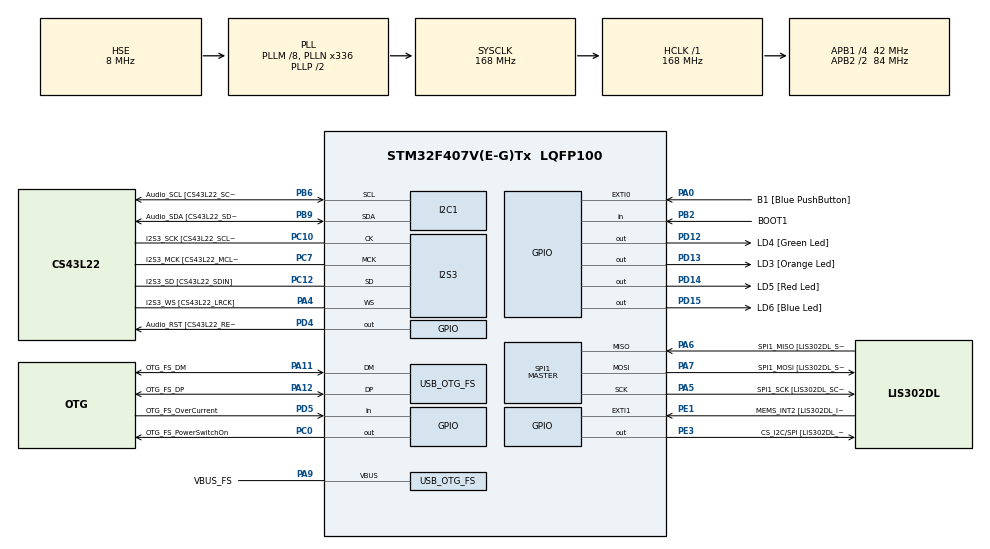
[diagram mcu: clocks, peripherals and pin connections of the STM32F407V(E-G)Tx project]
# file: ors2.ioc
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I2S3.AudioFreq-Half_Duplex_Master=I2S_AUDIOFREQ_96K
I2S3.ErrorAudioFreq=-2.34 %
I2S3.ErrorAudioFreq-Half_Duplex_Master=0.8 %
I2S3.FullDuplexMode=I2S_FULLDUPLEXMODE_DISABLE
I2S3.Instance=SPI$Index
I2S3.RealAudioFreq=93.75 KHz
I2S3.RealAudioFreq-Half_Duplex_Master=96.774 KHz
I2S3.VirtualMode=I2S_MODE_MASTER
Mcu.Family=STM32F4
Mcu.Name=STM32F407V(E-G)Tx
Mcu.Package=LQFP100
NVIC.OTG_FS_IRQn=true\:0\:0\:false\:false\:true\:true\:true
NVIC.PriorityGroup=NVIC_PRIORITYGROUP_0
PA0-WKUP.GPIO_Label=B1 [Blue PushButton]
PA0-WKUP.GPIO_ModeDefaultEXTI=GPIO_MODE_EVT_RISING
PA0-WKUP.GPIO_PuPd=GPIO_NOPULL
PA0-WKUP.Signal=GPXTI0
PA10.GPIO_Label=OTG_FS_ID
PA10.GPIO_Mode=GPIO_MODE_AF_PP
PA10.GPIO_PuPd=GPIO_NOPULL
PA10.GPIO_Speed=GPIO_SPEED_FREQ_LOW
PA10.Signal=USB_OTG_FS_ID
PA11.GPIO_Label=OTG_FS_DM
PA11.GPIO_Mode=GPIO_MODE_AF_PP
PA11.GPIO_PuPd=GPIO_NOPULL
PA11.GPIO_Speed=GPIO_SPEED_FREQ_LOW
PA11.Mode=Host_Only
PA11.Signal=USB_OTG_FS_DM
PA12.GPIO_Label=OTG_FS_DP
PA12.GPIO_Mode=GPIO_MODE_AF_PP
PA12.GPIO_PuPd=GPIO_NOPULL
PA12.GPIO_Speed=GPIO_SPEED_FREQ_LOW
PA12.Mode=Host_Only
PA12.Signal=USB_OTG_FS_DP
PA13.GPIO_Label=SWDIO
PA13.Mode=Serial_Wire
PA13.Signal=SYS_JTMS-SWDIO
PA14.GPIO_Label=SWCLK
PA14.Mode=Serial_Wire
PA14.Signal=SYS_JTCK-SWCLK
PA4.GPIO_Label=I2S3_WS [CS43L22_LRCK]
PA4.GPIO_Mode=GPIO_MODE_AF_PP
PA4.GPIO_PuPd=GPIO_NOPULL
PA4.GPIO_Speed=GPIO_SPEED_FREQ_LOW
PA4.Mode=Half_Duplex_Master
PA4.Signal=I2S3_WS
PA5.GPIO_Label=SPI1_SCK [LIS302DL_SCL/SPC]
PA5.GPIO_Mode=GPIO_MODE_AF_PP
PA5.GPIO_PuPd=GPIO_NOPULL
PA5.GPIO_Speed=GPIO_SPEED_FREQ_LOW
PA5.Mode=Full_Duplex_Master
PA5.Signal=SPI1_SCK
PA6.GPIO_Label=SPI1_MISO [LIS302DL_SDO]
PA6.GPIO_Mode=GPIO_MODE_AF_PP
PA6.GPIO_PuPd=GPIO_NOPULL
PA6.GPIO_Speed=GPIO_SPEED_FREQ_LOW
PA6.Mode=Full_Duplex_Master
PA6.Signal=SPI1_MISO
PA7.GPIO_Label=SPI1_MOSI [LIS302DL_SDA/SDI/SDO]
PA7.GPIO_Mode=GPIO_MODE_AF_PP
PA7.GPIO_PuPd=GPIO_NOPULL
PA7.GPIO_Speed=GPIO_SPEED_FREQ_LOW
PA7.Mode=Full_Duplex_Master
PA7.Signal=SPI1_MOSI
PA9.GPIO_Label=VBUS_FS
PA9.GPIO_Mode=GPIO_MODE_INPUT
PA9.GPIO_PuPd=GPIO_NOPULL
PA9.Mode=Activate_VBUS
PA9.Signal=USB_OTG_FS_VBUS
PB10.GPIO_Label=CLK_IN [MP45DT02_CLK]
PB10.GPIO_Mode=GPIO_MODE_AF_PP
PB10.GPIO_PuPd=GPIO_NOPULL
PB10.GPIO_Speed=GPIO_SPEED_FREQ_LOW
PB10.Signal=I2S2_CK
PB2.GPIO_Label=BOOT1
PB2.GPIO_Mode=GPIO_MODE_INPUT
PB2.GPIO_PuPd=GPIO_NOPULL
PB2.Signal=GPIO_Input
PB3.GPIO_Label=SWO
PB3.Signal=SYS_JTDO-SWO
PB6.GPIO_Label=Audio_SCL [CS43L22_SCL]
PB6.GPIO_Mode=GPIO_MODE_AF_OD
PB6.GPIO_Pu=GPIO_PULLUP
PB6.GPIO_PuPd=GPIO_NOPULL
PB6.GPIO_Speed=GPIO_SPEED_FREQ_LOW
PB6.Mode=I2C
PB6.Signal=I2C1_SCL
PB9.GPIO_Label=Audio_SDA [CS43L22_SDA]
PB9.GPIO_Mode=GPIO_MODE_AF_OD
PB9.GPIO_Pu=GPIO_PULLUP
PB9.GPIO_PuPd=GPIO_NOPULL
PB9.GPIO_Speed=GPIO_SPEED_FREQ_LOW
PB9.Mode=I2C
PB9.Signal=I2C1_SDA
PC0.GPIO_Label=OTG_FS_PowerSwitchOn
PC0.GPIO_PuPd=GPIO_NOPULL
PC0.GPIO_Speed=GPIO_SPEED_FREQ_LOW
PC0.PinState=GPIO_PIN_SET
PC0.Signal=GPIO_Output
PC10.GPIO_Label=I2S3_SCK [CS43L22_SCLK]
PC10.GPIO_Mode=GPIO_MODE_AF_PP
PC10.GPIO_PuPd=GPIO_NOPULL
PC10.GPIO_Speed=GPIO_SPEED_FREQ_LOW
PC10.Mode=Half_Duplex_Master
PC10.Signal=I2S3_CK
PC12.GPIO_Label=I2S3_SD [CS43L22_SDIN]
PC12.GPIO_Mode=GPIO_MODE_AF_PP
PC12.GPIO_PuPd=GPIO_NOPULL
PC12.GPIO_Speed=GPIO_SPEED_FREQ_LOW
PC12.Mode=Half_Duplex_Master
PC12.Signal=I2S3_SD
PC14-OSC32_IN.GPIO_Label=PC14-OSC32_IN
PC14-OSC32_IN.Mode=LSE-External-Oscillator
PC14-OSC32_IN.Signal=RCC_OSC32_IN
PC15-OSC32_OUT.GPIO_Label=PC15-OSC32_OUT
PC15-OSC32_OUT.Mode=LSE-External-Oscillator
PC15-OSC32_OUT.Signal=RCC_OSC32_OUT
PC3.GPIO_Label=PDM_OUT [MP45DT02_DOUT]
PC3.GPIO_Mode=GPIO_MODE_AF_PP
PC3.GPIO_PuPd=GPIO_NOPULL
PC3.GPIO_Speed=GPIO_SPEED_FREQ_LOW
PC3.Signal=I2S2_SD
PC7.GPIO_Label=I2S3_MCK [CS43L22_MCLK]
PC7.GPIO_Mode=GPIO_MODE_AF_PP
PC7.GPIO_PuPd=GPIO_NOPULL
PC7.GPIO_Speed=GPIO_SPEED_FREQ_LOW
PC7.Mode=Master_Clock_Activated
PC7.Signal=I2S3_MCK
PD12.GPIO_Label=LD4 [Green Led]
PD12.GPIO_PuPd=GPIO_NOPULL
PD12.GPIO_Speed=GPIO_SPEED_FREQ_LOW
PD12.Signal=GPIO_Output
PD13.GPIO_Label=LD3 [Orange Led]
PD13.GPIO_PuPd=GPIO_NOPULL
PD13.GPIO_Speed=GPIO_SPEED_FREQ_LOW
PD13.Signal=GPIO_Output
PD14.GPIO_Label=LD5 [Red Led]
PD14.GPIO_PuPd=GPIO_NOPULL
PD14.GPIO_Speed=GPIO_SPEED_FREQ_LOW
PD14.Signal=GPIO_Output
PD15.GPIO_Label=LD6 [Blue Led]
PD15.GPIO_PuPd=GPIO_NOPULL
PD15.GPIO_Speed=GPIO_SPEED_FREQ_LOW
PD15.Signal=GPIO_Output
PD4.GPIO_Label=Audio_RST [CS43L22_RESET]
PD4.GPIO_PuPd=GPIO_NOPULL
PD4.GPIO_Speed=GPIO_SPEED_FREQ_LOW
PD4.Signal=GPIO_Output
PD5.GPIO_Label=OTG_FS_OverCurrent
PD5.GPIO_Mode=GPIO_MODE_INPUT
PD5.GPIO_PuPd=GPIO_NOPULL
PD5.Signal=GPIO_Input
PE1.GPIO_Label=MEMS_INT2 [LIS302DL_INT2]
PE1.GPIO_ModeDefaultEXTI=GPIO_MODE_EVT_RISING
PE1.GPIO_PuPd=GPIO_NOPULL
PE1.Signal=GPXTI1
PE3.GPIO_Label=CS_I2C/SPI [LIS302DL_CS_I2C/SPI]
PE3.GPIO_PuPd=GPIO_NOPULL
PE3.GPIO_Speed=GPIO_SPEED_FREQ_LOW
PE3.Signal=GPIO_Output
PH0-OSC_IN.GPIO_Label=PH0-OSC_IN
PH0-OSC_IN.Mode=HSE-External-Oscillator
PH0-OSC_IN.Signal=RCC_OSC_IN
PH1-OSC_OUT.GPIO_Label=PH1-OSC_OUT
PH1-OSC_OUT.Mode=HSE-External-Oscillator
PH1-OSC_OUT.Signal=RCC_OSC_OUT
ProjectManager.HeapSize=0x200
ProjectManager.StackSize=0x400
ProjectManager.TargetToolchain=STM32CubeIDE
RCC.48MHZClocksFreq_Value=48000000
RCC.AHBFreq_Value=168000000
RCC.APB1CLKDivider=RCC_HCLK_DIV4
RCC.APB1Freq_Value=42000000
RCC.APB1TimFreq_Value=84000000
RCC.APB2CLKDivider=RCC_HCLK_DIV2
RCC.APB2Freq_Value=84000000
RCC.APB2TimFreq_Value=168000000
RCC.CortexFreq_Value=168000000
RCC.HCLKFreq_Value=168000000
RCC.HSE_VALUE=8000000
RCC.HSI_VALUE=16000000
RCC.PLLM=8
RCC.PLLN=336
RCC.PLLQ=7
RCC.SYSCLKFreq_VALUE=168000000
RCC.SYSCLKSource=RCC_SYSCLKSOURCE_PLLCLK
RCC.VCOOutputFreq_Value=336000000
SPI1.BaudRatePrescaler-Full_Duplex_Master=SPI_BAUDRATEPRESCALER_2
SPI1.CalculateBaudRate-Full_Duplex_Master=42.0 MBits/s
SPI1.Direction=SPI_DIRECTION_2LINES
SPI1.Mode=SPI_MODE_MASTER
SPI1.Mode-Full_Duplex_Master=SPI_MODE_MASTER
SPI1.VirtualType=VM_MASTER
USB_HOST.BSP.number=1
USB_HOST.USBH_HandleTypeDef-CDC_FS=hUsbHostFS
USB_HOST.VirtualModeFS=Cdc
USB_HOST0.BSP.STBoard=false
USB_HOST0.BSP.api=Unknown
USB_HOST0.BSP.i2caddr=0
USB_HOST0.BSP.i2creg=0
USB_HOST0.BSP.instance=PC0
USB_HOST0.BSP.ip=GPIO
USB_HOST0.BSP.mode=Output
USB_HOST0.BSP.name=Drive_VBUS_FS
USB_HOST0.BSP.solution=PC0
USB_OTG_FS.VirtualMode=Host_Only
USB_OTG_FS.phy_itface=HCD_PHY_EMBEDDED
VP_USB_HOST_VS_USB_HOST_CDC_FS.Mode=CDC_FS
board=STM32F407G-DISC1

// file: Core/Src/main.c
/* USER CODE BEGIN Header */
/**
  ******************************************************************************
  * @file           : main.c
  * @brief          : Main program body
  ******************************************************************************
  * @attention
  *
  * <h2><center>&copy; Copyright (c) 2021 STMicroelectronics.
  * All rights reserved.</center></h2>
  *
  * This software component is licensed by ST under Ultimate Liberty license
  * SLA0044, the "License"; You may not use this file except in compliance with
  * the License. You may obtain a copy of the License at:
  *                             www.st.com/SLA0044
  *
  ******************************************************************************
  */
/* USER CODE END Header */
#include "main.h"
#include "usb_host.h"

I2C_HandleTypeDef hi2c1;

I2S_HandleTypeDef hi2s3;

SPI_HandleTypeDef hspi1;

void SystemClock_Config(void);
static void MX_GPIO_Init(void);
static void MX_I2C1_Init(void);
static void MX_I2S3_Init(void);
static void MX_SPI1_Init(void);
void MX_USB_HOST_Process(void);

uint8_t in;
uint8_t out;

uint8_t mode =0;

int8_t x_acc;
   int8_t y_acc;
   int8_t x_zero=0;
   int8_t y_zero=0;

SPI_HandleTypeDef hspi1;
int main(void)
{

  /* MCU Configuration--------------------------------------------------------*/

  /* Reset of all peripherals, Initializes the Flash interface and the Systick. */
  HAL_Init();

  /* Configure the system clock */
  SystemClock_Config();

  /* Initialize all configured peripherals */
  MX_GPIO_Init();
  MX_I2C1_Init();
  MX_I2S3_Init();
  MX_SPI1_Init();
  MX_USB_HOST_Init();
  /* USER CODE BEGIN 2 */
  __HAL_RCC_SPI1_CLK_ENABLE();

    hspi1.Instance = SPI1;
    hspi1.Init.Mode = SPI_MODE_MASTER;
    hspi1.Init.Direction = SPI_DIRECTION_2LINES;
    hspi1.Init.DataSize = SPI_DATASIZE_8BIT;
    hspi1.Init.CLKPolarity = SPI_POLARITY_LOW;
    hspi1.Init.CLKPhase = SPI_PHASE_1EDGE;
    hspi1.Init.NSS = SPI_NSS_SOFT;
    hspi1.Init.BaudRatePrescaler = SPI_BAUDRATEPRESCALER_256;
    hspi1.Init.FirstBit = SPI_FIRSTBIT_MSB;
    hspi1.Init.CRCCalculation = SPI_CRCCALCULATION_DISABLE;
    HAL_SPI_Init(&hspi1);

    __HAL_RCC_GPIOA_CLK_ENABLE();

      GPIO_InitTypeDef init_structure;
      init_structure.Pin = GPIO_PIN_5 | GPIO_PIN_6 | GPIO_PIN_7;
      init_structure.Pull = GPIO_NOPULL;
      init_structure.Speed = GPIO_SPEED_FREQ_LOW;
      init_structure.Mode = GPIO_MODE_AF_PP;
      init_structure.Alternate = GPIO_AF5_SPI1;
      HAL_GPIO_Init(GPIOA, &init_structure);

  __HAL_RCC_GPIOE_CLK_ENABLE();
	init_structure.Pin = GPIO_PIN_3;
	init_structure.Pull = GPIO_NOPULL;
	init_structure.Speed = GPIO_SPEED_FREQ_LOW;
	init_structure.Mode = GPIO_MODE_OUTPUT_PP;
	HAL_GPIO_Init(GPIOE, &init_structure);
	HAL_GPIO_WritePin(GPIOE, GPIO_PIN_3, GPIO_PIN_SET);

  __HAL_RCC_GPIOD_CLK_ENABLE();
  	  //init led
    GPIO_InitTypeDef leds;
    leds.Pin =  GPIO_PIN_12 | GPIO_PIN_13 | GPIO_PIN_14 | GPIO_PIN_15;
    leds.Mode = GPIO_MODE_OUTPUT_PP;
    leds.Pull = GPIO_NOPULL;
    leds.Speed = GPIO_SPEED_FREQ_LOW;

    //init button
    HAL_GPIO_Init(GPIOD,&leds);
     __HAL_RCC_GPIOA_CLK_ENABLE();

     GPIO_InitTypeDef button;
     button.Pin =  GPIO_PIN_0;
     button.Mode = GPIO_MODE_IT_RISING_FALLING;
     button.Pull = GPIO_NOPULL;

     HAL_GPIO_Init(GPIOA,&button);

     HAL_NVIC_SetPriority(EXTI0_IRQn, 1, 2);

    HAL_NVIC_EnableIRQ(EXTI0_IRQn);

     // slave deselect
     HAL_GPIO_WritePin(GPIOE, GPIO_PIN_3, GPIO_PIN_RESET);
     out = 0x8F;
     HAL_SPI_TransmitReceive(&hspi1, &out, &in, 1, HAL_MAX_DELAY);
     HAL_SPI_TransmitReceive(&hspi1, &out, &in, 1, HAL_MAX_DELAY);
     HAL_GPIO_WritePin(GPIOE, GPIO_PIN_3, GPIO_PIN_SET);

     HAL_GPIO_WritePin(GPIOE, GPIO_PIN_3, GPIO_PIN_RESET);
     out = 0x20;
     HAL_SPI_TransmitReceive(&hspi1, &out, &in, 1, HAL_MAX_DELAY);
     out = 0x47;
     HAL_SPI_TransmitReceive(&hspi1, &out, &in, 1, HAL_MAX_DELAY);
     HAL_GPIO_WritePin(GPIOE, GPIO_PIN_3, GPIO_PIN_SET);

     HAL_Delay(500);

  /* USER CODE END 2 */

  /* Infinite loop */
  while (1)
  {
	  // beri naklon po x osi -> Naslov 0x29
	 	 HAL_GPIO_WritePin(GPIOE, GPIO_PIN_3, GPIO_PIN_RESET);
	 	 out = 0x29 | 0x80; // 0xa9
	 	 HAL_SPI_TransmitReceive(&hspi1, &out, &in, 1, HAL_MAX_DELAY);
	 	 HAL_SPI_TransmitReceive(&hspi1, &out, &in, 1, HAL_MAX_DELAY);
	 	 HAL_GPIO_WritePin(GPIOE, GPIO_PIN_3, GPIO_PIN_SET);

	 	 x_acc = in;

	 	 // beri naklon po y osi -> Naslov 0x2B
	 	 HAL_GPIO_WritePin(GPIOE, GPIO_PIN_3, GPIO_PIN_RESET);
	 	 out = 0x2B | 0x80; // 0xaB
	 	 HAL_SPI_TransmitReceive(&hspi1, &out, &in, 1, HAL_MAX_DELAY);
	 	 HAL_SPI_TransmitReceive(&hspi1, &out, &in, 1, HAL_MAX_DELAY);
	 	 HAL_GPIO_WritePin(GPIOE, GPIO_PIN_3, GPIO_PIN_SET);

	 	 y_acc = in;

	 	 if(x_acc  - x_zero < - 10 && ((mode==0) | (mode == 2))){
	 		 HAL_GPIO_WritePin(GPIOD, GPIO_PIN_12, 0);
	 		 HAL_GPIO_WritePin(GPIOD, GPIO_PIN_14, 1);
	 	 }
	 	 else if (x_acc  - x_zero > 10 && ((mode==0) | (mode == 2))){
	 		 HAL_GPIO_WritePin(GPIOD, GPIO_PIN_12, 1);
	 		 HAL_GPIO_WritePin(GPIOD, GPIO_PIN_14, 0);
	 	 }
	 	 else {
	 		 HAL_GPIO_WritePin(GPIOD, GPIO_PIN_12, 0);
	 		 HAL_GPIO_WritePin(GPIOD, GPIO_PIN_14, 0);
	 	 }

	 	 if(y_acc  - y_zero < - 10 &&( (mode==1) | (mode == 2))){
	 		 HAL_GPIO_WritePin(GPIOD, GPIO_PIN_13, 0);
	 		 HAL_GPIO_WritePin(GPIOD, GPIO_PIN_15, 1);
	 	 }
	 	 else if (y_acc - y_zero > 10 &&( (mode==1) | (mode == 2))){
	 		 HAL_GPIO_WritePin(GPIOD, GPIO_PIN_13, 1);
	 		 HAL_GPIO_WritePin(GPIOD, GPIO_PIN_15, 0);
	 	 }
	 	 else {
	 		 HAL_GPIO_WritePin(GPIOD, GPIO_PIN_13, 0);
	 		 HAL_GPIO_WritePin(GPIOD, GPIO_PIN_15, 0);
	 	 }

    MX_USB_HOST_Process();

  }
}

void SystemClock_Config(void)
{
  RCC_OscInitTypeDef RCC_OscInitStruct = {0};
  RCC_ClkInitTypeDef RCC_ClkInitStruct = {0};

  /** Configure the main internal regulator output voltage
  */
  __HAL_RCC_PWR_CLK_ENABLE();
  __HAL_PWR_VOLTAGESCALING_CONFIG(PWR_REGULATOR_VOLTAGE_SCALE1);
  /** Initializes the RCC Oscillators according to the specified parameters
  * in the RCC_OscInitTypeDef structure.
  */
  RCC_OscInitStruct.OscillatorType = RCC_OSCILLATORTYPE_HSE;
  RCC_OscInitStruct.HSEState = RCC_HSE_ON;
  RCC_OscInitStruct.PLL.PLLState = RCC_PLL_ON;
  RCC_OscInitStruct.PLL.PLLSource = RCC_PLLSOURCE_HSE;
  RCC_OscInitStruct.PLL.PLLM = 8;
  RCC_OscInitStruct.PLL.PLLN = 336;
  RCC_OscInitStruct.PLL.PLLP = RCC_PLLP_DIV2;
  RCC_OscInitStruct.PLL.PLLQ = 7;
  if (HAL_RCC_OscConfig(&RCC_OscInitStruct) != HAL_OK)
  {
    Error_Handler();
  }
  /** Initializes the CPU, AHB and APB buses clocks
  */
  RCC_ClkInitStruct.ClockType = RCC_CLOCKTYPE_HCLK|RCC_CLOCKTYPE_SYSCLK
                              |RCC_CLOCKTYPE_PCLK1|RCC_CLOCKTYPE_PCLK2;
  RCC_ClkInitStruct.SYSCLKSource = RCC_SYSCLKSOURCE_PLLCLK;
  RCC_ClkInitStruct.AHBCLKDivider = RCC_SYSCLK_DIV1;
  RCC_ClkInitStruct.APB1CLKDivider = RCC_HCLK_DIV4;
  RCC_ClkInitStruct.APB2CLKDivider = RCC_HCLK_DIV2;

  if (HAL_RCC_ClockConfig(&RCC_ClkInitStruct, FLASH_LATENCY_5) != HAL_OK)
  {
    Error_Handler();
  }
}

static void MX_I2C1_Init(void)
{

  hi2c1.Instance = I2C1;
  hi2c1.Init.ClockSpeed = 100000;
  hi2c1.Init.DutyCycle = I2C_DUTYCYCLE_2;
  hi2c1.Init.OwnAddress1 = 0;
  hi2c1.Init.AddressingMode = I2C_ADDRESSINGMODE_7BIT;
  hi2c1.Init.DualAddressMode = I2C_DUALADDRESS_DISABLE;
  hi2c1.Init.OwnAddress2 = 0;
  hi2c1.Init.GeneralCallMode = I2C_GENERALCALL_DISABLE;
  hi2c1.Init.NoStretchMode = I2C_NOSTRETCH_DISABLE;
  if (HAL_I2C_Init(&hi2c1) != HAL_OK)
  {
    Error_Handler();
  }

}

static void MX_I2S3_Init(void)
{

  hi2s3.Instance = SPI3;
  hi2s3.Init.Mode = I2S_MODE_MASTER_TX;
  hi2s3.Init.Standard = I2S_STANDARD_PHILIPS;
  hi2s3.Init.DataFormat = I2S_DATAFORMAT_16B;
  hi2s3.Init.MCLKOutput = I2S_MCLKOUTPUT_ENABLE;
  hi2s3.Init.AudioFreq = I2S_AUDIOFREQ_96K;
  hi2s3.Init.CPOL = I2S_CPOL_LOW;
  hi2s3.Init.ClockSource = I2S_CLOCK_PLL;
  hi2s3.Init.FullDuplexMode = I2S_FULLDUPLEXMODE_DISABLE;
  if (HAL_I2S_Init(&hi2s3) != HAL_OK)
  {
    Error_Handler();
  }

}

static void MX_SPI1_Init(void)
{

  /* SPI1 parameter configuration*/
  hspi1.Instance = SPI1;
  hspi1.Init.Mode = SPI_MODE_MASTER;
  hspi1.Init.Direction = SPI_DIRECTION_2LINES;
  hspi1.Init.DataSize = SPI_DATASIZE_8BIT;
  hspi1.Init.CLKPolarity = SPI_POLARITY_LOW;
  hspi1.Init.CLKPhase = SPI_PHASE_1EDGE;
  hspi1.Init.NSS = SPI_NSS_SOFT;
  hspi1.Init.BaudRatePrescaler = SPI_BAUDRATEPRESCALER_2;
  hspi1.Init.FirstBit = SPI_FIRSTBIT_MSB;
  hspi1.Init.TIMode = SPI_TIMODE_DISABLE;
  hspi1.Init.CRCCalculation = SPI_CRCCALCULATION_DISABLE;
  hspi1.Init.CRCPolynomial = 10;
  if (HAL_SPI_Init(&hspi1) != HAL_OK)
  {
    Error_Handler();
  }

}

static void MX_GPIO_Init(void)
{
  GPIO_InitTypeDef GPIO_InitStruct = {0};

  /* GPIO Ports Clock Enable */
  __HAL_RCC_GPIOE_CLK_ENABLE();
  __HAL_RCC_GPIOC_CLK_ENABLE();
  __HAL_RCC_GPIOH_CLK_ENABLE();
  __HAL_RCC_GPIOA_CLK_ENABLE();
  __HAL_RCC_GPIOB_CLK_ENABLE();
  __HAL_RCC_GPIOD_CLK_ENABLE();

  /*Configure GPIO pin Output Level */
  HAL_GPIO_WritePin(CS_I2C_SPI_GPIO_Port, CS_I2C_SPI_Pin, GPIO_PIN_RESET);

  /*Configure GPIO pin Output Level */
  HAL_GPIO_WritePin(OTG_FS_PowerSwitchOn_GPIO_Port, OTG_FS_PowerSwitchOn_Pin, GPIO_PIN_SET);

  /*Configure GPIO pin Output Level */
  HAL_GPIO_WritePin(GPIOD, LD4_Pin|LD3_Pin|LD5_Pin|LD6_Pin
                          |Audio_RST_Pin, GPIO_PIN_RESET);

  /*Configure GPIO pin : CS_I2C_SPI_Pin */
  GPIO_InitStruct.Pin = CS_I2C_SPI_Pin;
  GPIO_InitStruct.Mode = GPIO_MODE_OUTPUT_PP;
  GPIO_InitStruct.Pull = GPIO_NOPULL;
  GPIO_InitStruct.Speed = GPIO_SPEED_FREQ_LOW;
  HAL_GPIO_Init(CS_I2C_SPI_GPIO_Port, &GPIO_InitStruct);

  /*Configure GPIO pin : OTG_FS_PowerSwitchOn_Pin */
  GPIO_InitStruct.Pin = OTG_FS_PowerSwitchOn_Pin;
  GPIO_InitStruct.Mode = GPIO_MODE_OUTPUT_PP;
  GPIO_InitStruct.Pull = GPIO_NOPULL;
  GPIO_InitStruct.Speed = GPIO_SPEED_FREQ_LOW;
  HAL_GPIO_Init(OTG_FS_PowerSwitchOn_GPIO_Port, &GPIO_InitStruct);

  /*Configure GPIO pin : PDM_OUT_Pin */
  GPIO_InitStruct.Pin = PDM_OUT_Pin;
  GPIO_InitStruct.Mode = GPIO_MODE_AF_PP;
  GPIO_InitStruct.Pull = GPIO_NOPULL;
  GPIO_InitStruct.Speed = GPIO_SPEED_FREQ_LOW;
  GPIO_InitStruct.Alternate = GPIO_AF5_SPI2;
  HAL_GPIO_Init(PDM_OUT_GPIO_Port, &GPIO_InitStruct);

  /*Configure GPIO pin : B1_Pin */
  GPIO_InitStruct.Pin = B1_Pin;
  GPIO_InitStruct.Mode = GPIO_MODE_EVT_RISING;
  GPIO_InitStruct.Pull = GPIO_NOPULL;
  HAL_GPIO_Init(B1_GPIO_Port, &GPIO_InitStruct);

  /*Configure GPIO pin : BOOT1_Pin */
  GPIO_InitStruct.Pin = BOOT1_Pin;
  GPIO_InitStruct.Mode = GPIO_MODE_INPUT;
  GPIO_InitStruct.Pull = GPIO_NOPULL;
  HAL_GPIO_Init(BOOT1_GPIO_Port, &GPIO_InitStruct);

  /*Configure GPIO pin : CLK_IN_Pin */
  GPIO_InitStruct.Pin = CLK_IN_Pin;
  GPIO_InitStruct.Mode = GPIO_MODE_AF_PP;
  GPIO_InitStruct.Pull = GPIO_NOPULL;
  GPIO_InitStruct.Speed = GPIO_SPEED_FREQ_LOW;
  GPIO_InitStruct.Alternate = GPIO_AF5_SPI2;
  HAL_GPIO_Init(CLK_IN_GPIO_Port, &GPIO_InitStruct);

  /*Configure GPIO pins : LD4_Pin LD3_Pin LD5_Pin LD6_Pin
                           Audio_RST_Pin */
  GPIO_InitStruct.Pin = LD4_Pin|LD3_Pin|LD5_Pin|LD6_Pin
                          |Audio_RST_Pin;
  GPIO_InitStruct.Mode = GPIO_MODE_OUTPUT_PP;
  GPIO_InitStruct.Pull = GPIO_NOPULL;
  GPIO_InitStruct.Speed = GPIO_SPEED_FREQ_LOW;
  HAL_GPIO_Init(GPIOD, &GPIO_InitStruct);

  /*Configure GPIO pin : OTG_FS_OverCurrent_Pin */
  GPIO_InitStruct.Pin = OTG_FS_OverCurrent_Pin;
  GPIO_InitStruct.Mode = GPIO_MODE_INPUT;
  GPIO_InitStruct.Pull = GPIO_NOPULL;
  HAL_GPIO_Init(OTG_FS_OverCurrent_GPIO_Port, &GPIO_InitStruct);

  /*Configure GPIO pin : MEMS_INT2_Pin */
  GPIO_InitStruct.Pin = MEMS_INT2_Pin;
  GPIO_InitStruct.Mode = GPIO_MODE_EVT_RISING;
  GPIO_InitStruct.Pull = GPIO_NOPULL;
  HAL_GPIO_Init(MEMS_INT2_GPIO_Port, &GPIO_InitStruct);

}

void Error_Handler(void)
{
  __disable_irq();
  while (1)
  {
  }
}

/************************ (C) COPYRIGHT STMicroelectronics *****END OF FILE****/
